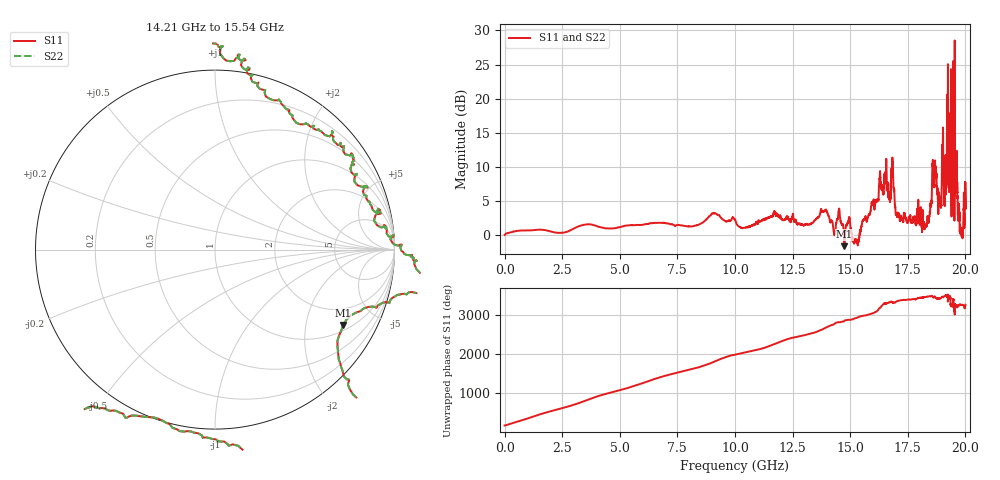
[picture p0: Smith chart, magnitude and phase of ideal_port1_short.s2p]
! Created with skrf (http://scikit-rf.org).
# GHz S RI R 50.0
!freq ReS11 ImS11 ReS21 ImS21 ReS12 ImS12 ReS22 ImS22
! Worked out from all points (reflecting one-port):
!   10001 points, 1 MHz to 20 GHz, reference 50 ohm
!   lowest |S11| = -1.6 dB at 14.75 GHz (marker M1), VSWR 10.62, Z = 60.7 - j162 ohm
!   phase of S11 starts at 180 deg and turns +3080 deg over the sweep
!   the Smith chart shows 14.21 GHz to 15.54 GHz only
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0.001  -1 0.000152  0 0  0 0  -1 0.000152
1.500925  -0.1267 1.087  0 0  0 0  -0.1267 1.087
2.59687  0.1291 -1.035  0 0  0 0  0.1291 -1.035
3.334833  0.6919 0.9496  0 0  0 0  0.6919 0.9496
6.0027  -1.187 -0.0283  0 0  0 0  -1.187 -0.0283
6.668667  0.8726 -0.8656  0 0  0 0  0.8726 -0.8656
8.180591  -1.155 -0.1117  0 0  0 0  -1.155 -0.1117
9.090545  1.438 0.1384  0 0  0 0  1.438 0.1384
10.0005  -1.3 -0.108  0 0  0 0  -1.3 -0.108
13.33433  1.204 0.1865  0 0  0 0  1.204 0.1865
13.9963  -1.459 0.2334  0 0  0 0  -1.459 0.2334
14.75026  0.7132 -0.4205  0 0  0 0  0.7132 -0.4205
15.63022  -0.3919 1.26  0 0  0 0  -0.3919 1.26
16.0722  -1.607 -0.2939  0 0  0 0  -1.607 -0.2939
16.25419  0.4207 -2.257  0 0  0 0  0.4207 -2.257
16.66817  0.5842 1.961  0 0  0 0  0.5842 1.961
18.67407  -2.366 -2.227  0 0  0 0  -2.366 -2.227
18.85806  -1.995 0.1934  0 0  0 0  -1.995 0.1934
19.13804  -1.396 -3.603  0 0  0 0  -1.396 -3.603
19.25004  -4.126 -0.8842  0 0  0 0  -4.126 -0.8842
19.39803  1.335 0.2862  0 0  0 0  1.335 0.2862
20  1.462 0.5296  0 0  0 0  1.462 0.5296
